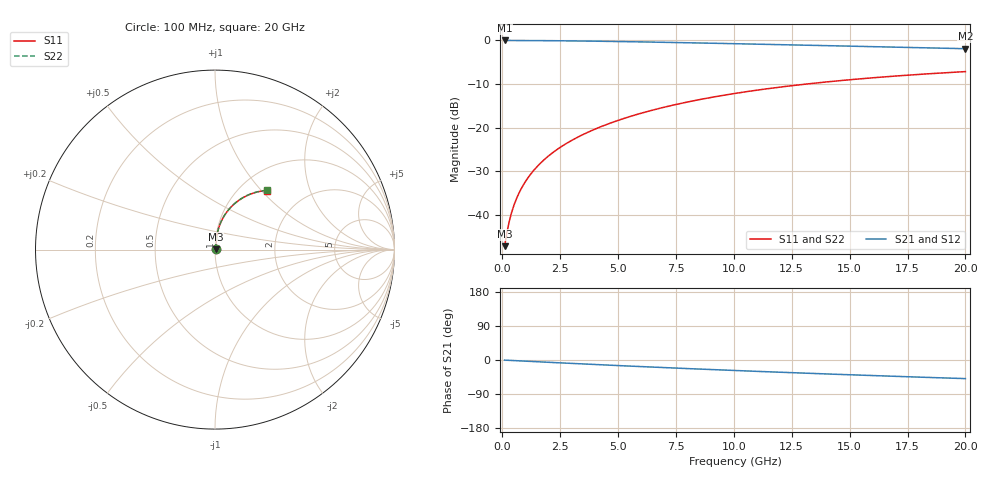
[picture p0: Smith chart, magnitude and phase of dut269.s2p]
! Touchstone file exported from HFSS 2024.1.0
!  File:  C:/UserFiles/LocalFiles/RDL_TSV_Batchsim/temp_RDL_bottom_269_1778702472.aedt
!  Generated:  04:04:08 AM May 14, 2026
!  Design:  RDL_bottom
!  Project:  temp_RDL_bottom_269_1778702472
!  Setup:  Setup1
!  Solution:  Sweep
! Variables:
!  dtsv = 10.80580581um
!  hbump = 3um
!  htsv = 62.57um
!  ldown = 693.5um
!  lrdl = 100um
!  p = 40
!  p1 = 54.1um
!  rhole = 1um
!  t = 450um
!  tdown = 3.38um
!  trdl = 3.915915916um
!  wdown = 21.73um
!  wrdl = 20um
# GHz S MA R 50.000000
! Terminal data exported
! Port[1] = RDL1_T1
! Port[2] = RDL1_T2
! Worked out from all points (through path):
!   200 points, 100 MHz to 20 GHz, reference 50 ohm
!   highest |S21| = -0.03 dB at 100 MHz (marker M1); lowest = -1.9 dB at 20 GHz (marker M2)
!   group delay of S21, straight-line fit = 6.78 ps
!   lowest |S11| = -47.2 dB at 100 MHz (marker M3), VSWR 1.01, Z = 50.4 + j0.257 ohm
!   |S11| at or under -10 dB: start of sweep to 13.18 GHz
!   |S22| runs from -47.2 to -7.2 dB; largest |S21 - S12| = 1.8e-14
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0.1  0.00436 35.9  0.9965 -0.3  0.9965 -0.3  0.00436 35.9
! Gamma 0 0 0 0
! Port Impedance 50 0 50 0
0.2  0.006245 53.7  0.9963 -0.6  0.9963 -0.6  0.006245 53.7
0.3  0.008378 62.4  0.996 -0.9  0.996 -0.9  0.008378 62.4
0.4  0.01056 67.5  0.9958 -1.2  0.9958 -1.2  0.01056 67.5
0.5  0.01277 70.8  0.9956 -1.5  0.9956 -1.5  0.01277 70.8
0.6  0.01499 73.2  0.9954 -1.9  0.9954 -1.9  0.01499 73.2
0.8  0.01948 76.5  0.9949 -2.5  0.9949 -2.5  0.01948 76.5
1.1  0.02631 79.2  0.9942 -3.4  0.9942 -3.4  0.02631 79.3
1.3  0.03092 80.4  0.9936 -4.0  0.9936 -4.0  0.03092 80.4
1.6  0.03789 81.4  0.9925 -4.9  0.9925 -4.9  0.03789 81.5
2.1  0.04966 82.3  0.9903 -6.4  0.9903 -6.4  0.04966 82.4
2.7  0.06399 82.6  0.987 -8.1  0.987 -8.1  0.064 82.6
3.5  0.08344 82.2  0.9816 -10.5  0.9816 -10.5  0.08346 82.3
4.2  0.1007 81.5  0.9761 -12.5  0.9761 -12.5  0.1008 81.6
5  0.1207 80.4  0.969 -14.7  0.969 -14.7  0.1208 80.5
6.8  0.1662 77.1  0.9511 -19.6  0.9511 -19.6  0.1663 77.2
8.4  0.2062 73.8  0.9336 -23.7  0.9336 -23.7  0.2063 73.8
10.1  0.2473 69.9  0.9143 -27.8  0.9143 -27.8  0.2475 70.0
11.7  0.2841 66.3  0.8958 -31.6  0.8958 -31.6  0.2844 66.4
13.4  0.3209 62.5  0.876 -35.5  0.876 -35.5  0.3212 62.6
16.7  0.3845 55.4  0.8381 -42.6  0.8381 -42.6  0.3849 55.5
20  0.4377 48.8  0.8017 -49.1  0.8017 -49.1  0.4382 48.9
